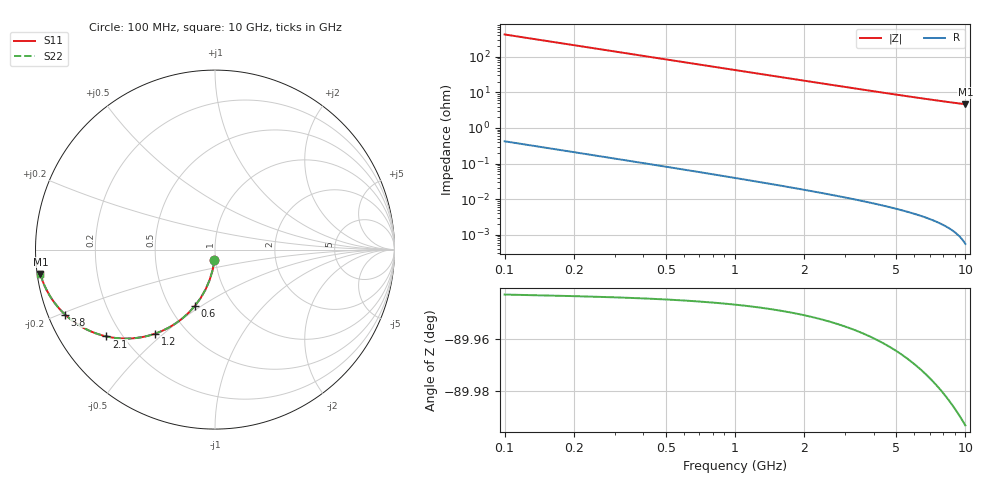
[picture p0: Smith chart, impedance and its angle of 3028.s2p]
# Hz S RI R 50.00
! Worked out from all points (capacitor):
!   100 points, 100 MHz to 10 GHz, reference 50 ohm
!   read as one part in shunt: C = 3.75 pF near 100 MHz
!   lowest |Z| = 4.65 ohm at 10 GHz (marker M1)
!   S11 on the Smith chart (normalised r, x): 100 MHz: 0.99, -0.12; 600 MHz: 0.67, -0.47; 1.2 GHz: 0.34, -0.47; 2.1 GHz: 0.14, -0.34; 3.8 GHz: 0.05, -0.21; 10 GHz: 0.01, -0.07
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1e8  -0.00335 -0.0585  0.9963 -0.0589  0.9963 -0.0589  -0.00335 -0.0585
2e8  -0.0136 -0.1157  0.986 -0.1166  0.986 -0.1166  -0.0136 -0.1157
3e8  -0.0303 -0.1706  0.9694 -0.1719  0.9694 -0.1719  -0.0303 -0.1706
4e8  -0.0526 -0.2222  0.9471 -0.2239  0.9471 -0.2239  -0.0526 -0.2222
5e8  -0.0799 -0.2698  0.9198 -0.2719  0.9198 -0.2719  -0.0799 -0.2698
6e8  -0.1111 -0.3127  0.8886 -0.3152  0.8886 -0.3152  -0.1111 -0.3127
7e8  -0.1454 -0.3506  0.8543 -0.3536  0.8543 -0.3536  -0.1454 -0.3506
9e8  -0.2195 -0.4115  0.7802 -0.4154  0.7802 -0.4154  -0.2195 -0.4115
1.2e9  -0.3333 -0.4683  0.6664 -0.4735  0.6664 -0.4735  -0.3333 -0.4683
1.5e9  -0.4386 -0.4925  0.5611 -0.4989  0.5611 -0.4989  -0.4386 -0.4925
1.8e9  -0.5295 -0.4947  0.4702 -0.5025  0.4702 -0.5025  -0.5295 -0.4947
2.1e9  -0.6051 -0.4837  0.3945 -0.4928  0.3945 -0.4928  -0.6051 -0.4837
2.4e9  -0.6669 -0.4655  0.3327 -0.4759  0.3327 -0.4759  -0.6669 -0.4655
2.7e9  -0.7172 -0.4439  0.2824 -0.4556  0.2824 -0.4556  -0.7172 -0.4439
3e9  -0.7581 -0.4211  0.2415 -0.4341  0.2415 -0.4341  -0.7581 -0.4211
3.4e9  -0.8012 -0.391  0.1983 -0.4057  0.1983 -0.4057  -0.8012 -0.391
3.8e9  -0.8345 -0.3626  0.165 -0.3791  0.165 -0.3791  -0.8345 -0.3626
4.4e9  -0.8714 -0.3243  0.128 -0.3434  0.128 -0.3434  -0.8714 -0.3243
5.1e9  -0.9014 -0.286  0.098 -0.3083  0.098 -0.3083  -0.9014 -0.286
6.7e9  -0.9409 -0.2196  0.0583 -0.2492  0.0583 -0.2492  -0.9409 -0.2196
8.4e9  -0.962 -0.1703  0.0369 -0.208  0.0369 -0.208  -0.962 -0.1703
1e10  -0.9732 -0.136  0.0254 -0.1815  0.0254 -0.1815  -0.9732 -0.136
